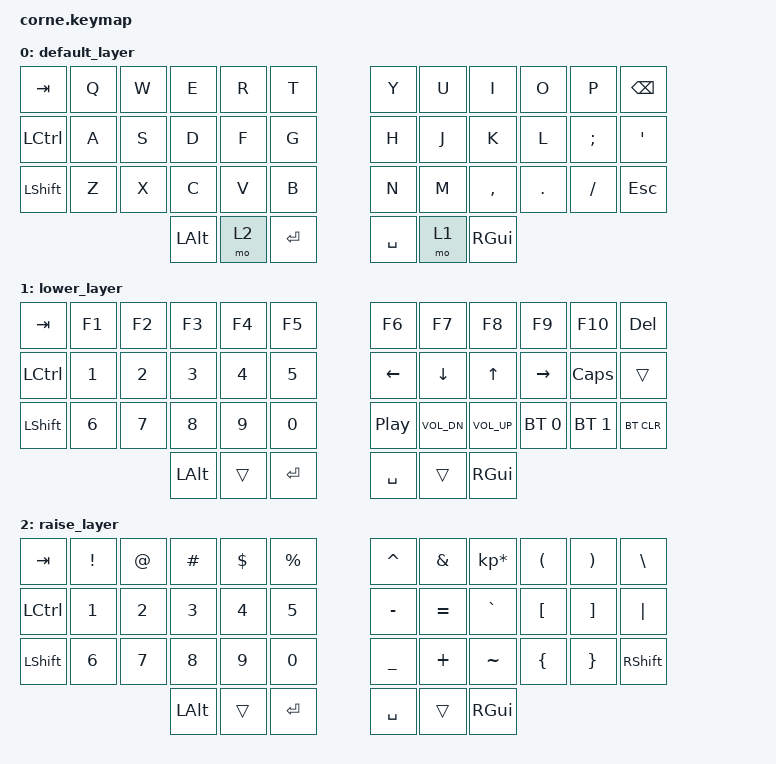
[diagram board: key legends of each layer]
/*
 * Copyright (c) 2020 The ZMK Contributors
 *
 * SPDX-License-Identifier: MIT
 */

#include <behaviors.dtsi>
#include <dt-bindings/zmk/keys.h>
#include <dt-bindings/zmk/bt.h>

/ {
        keymap {
                compatible = "zmk,keymap";

                default_layer {
// -----------------------------------------------------------------------------------------
// |  TAB |  Q  |  W  |  E  |  R  |  T  |   |  Y  |  U   |  I  |  O  |  P  | BKSP |
// | CTRL |  A  |  S  |  D  |  F  |  G  |   |  H  |  J   |  K  |  L  |  ;  |  '   |
// | SHFT |  Z  |  X  |  C  |  V  |  B  |   |  N  |  M   |  ,  |  .  |  /  | ESC  |
//                    | ALT | RSE | ENT |   | SPC | LWR  | GUI |
                        bindings = <
   &kp TAB   &kp Q &kp W &kp E &kp R &kp T   &kp Y &kp U  &kp I     &kp O   &kp P    &kp BSPC
   &kp LCTRL &kp A &kp S &kp D &kp F &kp G   &kp H &kp J  &kp K     &kp L   &kp SEMI &kp SQT
   &kp LSHFT &kp Z &kp X &kp C &kp V &kp B   &kp N &kp M  &kp COMMA &kp DOT &kp FSLH &kp ESC
                    &kp LALT &mo 2 &kp RET   &kp SPACE &mo 1 &kp RGUI
                        >;
                };

                lower_layer {
// -----------------------------------------------------------------------------------------
// |  TAB |  F1 |  F2 |  F3 |  F4 |  F5 |   | F6        | F7   | F8   | F9   | F10  | DEL  |
// | CTRL |  1  |  2  |  3  |  4  |  5  |   | LFT       | DWN  | UP   | RGT  | CAPS |      |
// | SHFT |  6  |  7  |  8  |  9  |  0  |   | Play/Pause| VOL -| VOL +| BTS_0| BTS_1| BTCLR|
//                    | ALT |     | ENT |   | SPC       |      | GUI  |
                        bindings = <
   &kp TAB    &kp F1 &kp F2 &kp F3 &kp F4 &kp F5       &kp F6     &kp F7        &kp F8        &kp F9        &kp F10  &kp DEL
   &kp LCTRL  &kp N1 &kp N2 &kp N3 &kp N4 &kp N5       &kp LEFT   &kp DOWN      &kp UP        &kp RIGHT     &kp CAPS &trans
   &kp LSHFT  &kp N6 &kp N7 &kp N8 &kp N9 &kp N0       &kp C_PP   &kp C_VOL_DN  &kp C_VOL_UP  &bt BT_SEL 0  &bt BT_SEL 1  &bt BT_CLR
                     &kp LALT   &trans   &kp RET       &kp SPACE  &trans        &kp RGUI
                        >;
                };

                raise_layer {
// -----------------------------------------------------------------------------------------
// |  TAB |  !  |  @  |  #  |  $  |  %  |   |  ^  |  &  |  *  |  (  |  )  |  \   |
// | CTRL |  1  |  2  |  3  |  4  |  5  |   |  -  |  =  |  `  |  [  |  ]  | "|"  |
// | SHFT |  6  |  7  |  8  |  9  |  0  |   |  _  |  +  |  ~  |  {  |  }  | SHFT |
//                    | ALT |     | ENT |   | SPC |     | GUI |
                        bindings = <
   &kp  TAB  &kp EXCL &kp AT &kp HASH &kp DLLR &kp PRCNT   &kp CARET &kp AMPS  &kp KP_MULTIPLY &kp LPAR &kp RPAR &kp BSLH
   &kp LCTRL &kp N1   &kp N2 &kp N3   &kp N4   &kp N5      &kp MINUS &kp EQUAL &kp GRAVE       &kp LBKT &kp RBKT &kp PIPE
   &kp LSHFT &kp N6   &kp N7 &kp N8   &kp N9   &kp N0      &kp UNDER &kp PLUS  &kp TILDE       &kp LBRC &kp RBRC &kp RSHFT
                    	     &kp LALT &trans   &kp RET     &kp SPACE &trans    &kp RGUI
                        >;
                };
        };
};
